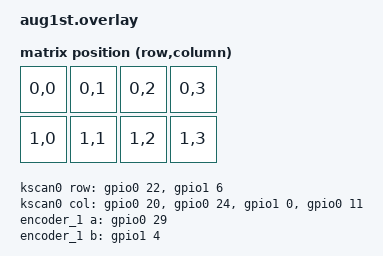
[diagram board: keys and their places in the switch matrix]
#include <dt-bindings/zmk/matrix_transform.h>

/ {
    chosen {
        zmk,kscan = &kscan0;
        zmk,matrix-transform = &default_transform;
        zmk,display = &oled;
        zephyr,display = &oled;
    };

    kscan0: kscan_0 {
        compatible = "zmk,kscan-gpio-matrix";
        diode-direction = "col2row";

        row-gpios
            = <&gpio0 22 (GPIO_ACTIVE_HIGH | GPIO_PULL_DOWN)>
            , <&gpio1  6 (GPIO_ACTIVE_HIGH | GPIO_PULL_DOWN)>
            ;

        col-gpios
            = <&gpio0 20 GPIO_ACTIVE_HIGH>
            , <&gpio0 24 GPIO_ACTIVE_HIGH>
            , <&gpio1  0 GPIO_ACTIVE_HIGH>
            , <&gpio0 11 GPIO_ACTIVE_HIGH>
            ;
    };

    default_transform: keymap_transform_0 {
        compatible = "zmk,matrix-transform";
        columns = <4>;
        rows = <2>;
        map = <
            RC(0,0) RC(0,1) RC(0,2) RC(0,3)
            RC(1,0) RC(1,1) RC(1,2) RC(1,3)
        >;
    };

    sensors: sensors {
        compatible = "zmk,keypad-sensors";
        sensors = <&encoder_1>;
    };

    encoder_1: encoder_1 {
        compatible = "alps,ec11";
        a-gpios = <&gpio0 29 (GPIO_ACTIVE_LOW | GPIO_PULL_UP)>;
        b-gpios = <&gpio1  4 (GPIO_ACTIVE_LOW | GPIO_PULL_UP)>;
        steps = <80>;
    };
};

&pinctrl {
    i2c1_default: i2c1_default {
        group1 {
            psels = <NRF_PSEL(TWIM_SDA, 0, 2)>,
                    <NRF_PSEL(TWIM_SCL, 1, 11)>;
        };
    };

    i2c1_sleep: i2c1_sleep {
        group1 {
            psels = <NRF_PSEL(TWIM_SDA, 0, 2)>,
                    <NRF_PSEL(TWIM_SCL, 1, 11)>;
            low-power-enable;
        };
    };
};

&i2c1 {
    status = "okay";
    compatible = "nordic,nrf-twi";
    pinctrl-0 = <&i2c1_default>;
    pinctrl-1 = <&i2c1_sleep>;
    pinctrl-names = "default", "sleep";

    oled: ssd1306@3c {
        compatible = "solomon,ssd1306fb";
        reg = <0x3c>;
        label = "DISPLAY";
        width = <128>;
        height = <32>;
        segment-offset = <0>;
        page-offset = <0>;
        display-offset = <0>;
        multiplex-ratio = <31>;
        segment-remap;
        com-invdir;
        com-sequential;
        prechargep = <0x22>;
    };
};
